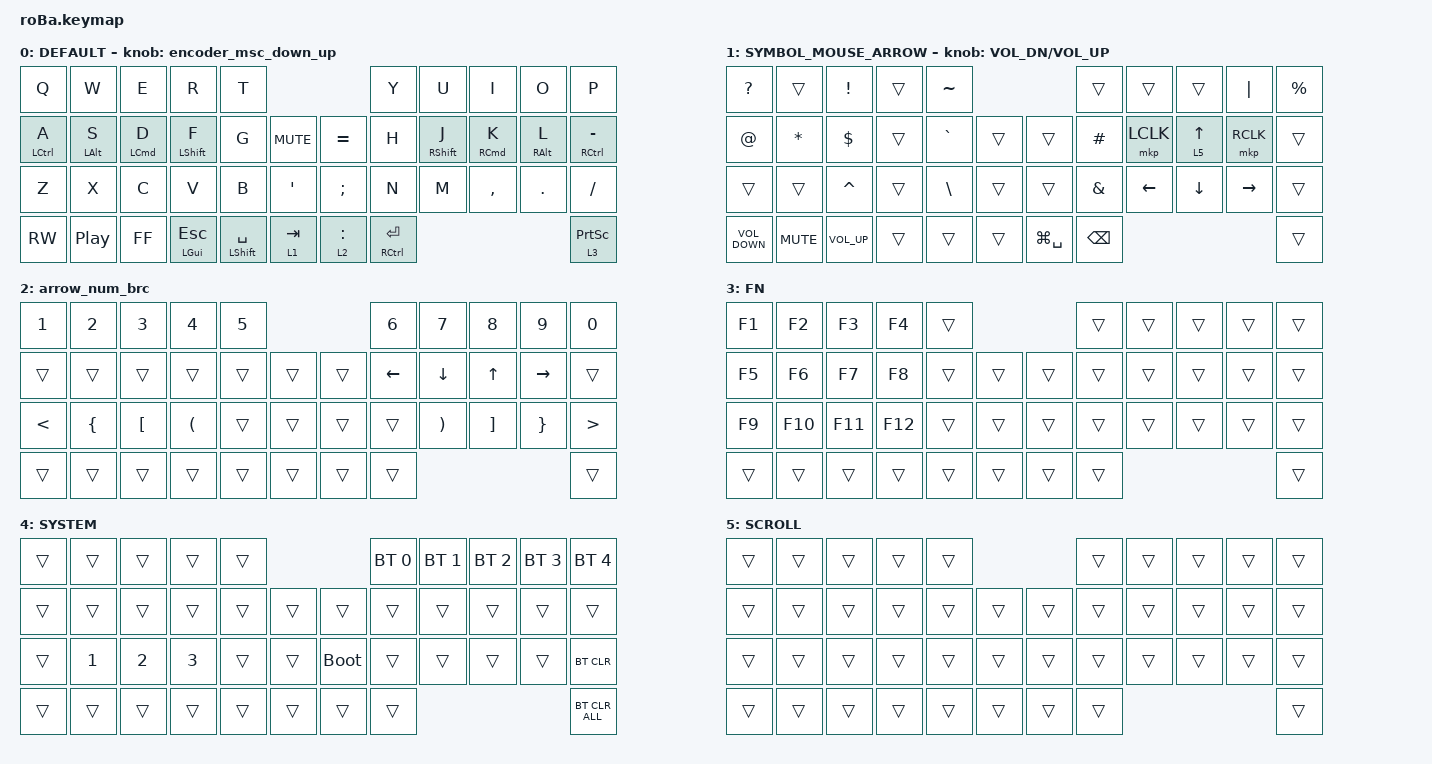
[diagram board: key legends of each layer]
#include <behaviors.dtsi>
#include <dt-bindings/zmk/bt.h>
#include <dt-bindings/zmk/keys.h>
#include <dt-bindings/zmk/pointing.h>

#define ZMK_POINTING_DEFAULT_SCRL_VAL 80

&mt {
    flavor = "balanced";
    quick-tap-ms = <0>;
};

&trackball {
    // automouse-layer = <4>;

    scroll-layers = <5>;

    // arrows {
    //     layers = <3>;
    //     bindings =
    //         <&kp RIGHT_ARROW>,
    //         <&kp LEFT_ARROW>,
    //         <&kp UP_ARROW>,
    //         <&kp DOWN_ARROW>;
    //     tick = <10>;
    //     wait-ms = <5>;
    //     tap-ms = <5>;
    // };
};

/ {
    combos {
        compatible = "zmk,combos";

        layer_to_system {
            bindings = <&mo 4>;
            key-positions = <40 41>;
            layers = <0>;
        };
    };

    macros {
        to_layer_0: to_layer_0 {
            compatible = "zmk,behavior-macro-one-param";
            #binding-cells = <1>;
            bindings = <&to 0 &macro_param_1to1 &kp MACRO_PLACEHOLDER>;
            label = "TO_LAYER_0";
        };
    };

    behaviors {
        lt_to_layer_0: lt_to_layer_0 {
            compatible = "zmk,behavior-hold-tap";
            label = "LAYER_TAP_TO_0";
            bindings = <&mo>, <&to_layer_0>;

            #binding-cells = <2>;
            tapping-term-ms = <200>;
        };

        encoder_msc_down_up: encoder_msc_down_up {
            compatible = "zmk,behavior-sensor-rotate";
            label = "ENCODER_MSC_DOWN_UP";
            #sensor-binding-cells = <0>;
            bindings = <&msc SCRL_DOWN>, <&msc SCRL_UP>;

            tap-ms = <20>;
        };
    };

    keymap {
        compatible = "zmk,keymap";

        DEFAULT {
            bindings = <
&kp Q        &kp W             &kp E       &kp R                &kp T                                                &kp Y            &kp U              &kp I       &kp O            &kp P
&mt LCTRL A  &mt LEFT_ALT S    &mt LCMD D  &mt LEFT_SHIFT F     &kp G                 &kp K_MUTE      &kp EQUAL      &kp H            &mt RIGHT_SHIFT J  &mt RCMD K  &mt RIGHT_ALT L  &mt RCTRL MINUS
&kp Z        &kp X             &kp C       &kp V                &kp B                 &kp SQT         &kp SEMICOLON  &kp N            &kp M              &kp COMMA   &kp DOT          &kp SLASH
&kp C_RW     &kp C_PLAY_PAUSE  &kp C_FF    &mt LEFT_GUI ESCAPE  &mt LEFT_SHIFT SPACE  &lt 1 TAB       &lt 2 COLON    &mt RCTRL ENTER                                                  &lt 3 PRINTSCREEN
            >;

            sensor-bindings = <&encoder_msc_down_up>;
        };

        SYMBOL_MOUSE_ARROW {
            bindings = <
&kp QMARK          &trans      &kp EXCL         &trans  &kp TILDE                                 &trans         &trans     &trans    &kp PIPE   &kp PRCNT
&kp AT             &kp STAR    &kp DLLR         &trans  &kp GRAVE      &trans      &trans         &kp HASH       &mkp LCLK  &lt 5 UP  &mkp RCLK  &trans
&trans             &trans      &kp CARET        &trans  &kp BACKSLASH  &trans      &trans         &kp AMPS       &kp LEFT   &kp DOWN  &kp RIGHT  &trans
&kp C_VOLUME_DOWN  &kp K_MUTE  &kp C_VOLUME_UP  &trans  &trans         &trans      &kp LG(SPACE)  &kp BACKSPACE                                  &trans
            >;

            sensor-bindings = <&inc_dec_kp C_VOL_DN C_VOL_UP>;
        };

        arrow_num_brc {
            bindings = <
&kp N1  &kp N2    &kp N3    &kp N4    &kp N5                      &kp N6    &kp N7    &kp N8    &kp N9     &kp N0
&trans  &trans    &trans    &trans    &trans  &trans      &trans  &kp LEFT  &kp DOWN  &kp UP    &kp RIGHT  &trans
&kp LT  &kp LBRC  &kp LBKT  &kp LPAR  &trans  &trans      &trans  &trans    &kp RPAR  &kp RBKT  &kp RBRC   &kp GT
&trans  &trans    &trans    &trans    &trans  &trans      &trans  &trans                                   &trans
            >;
        };

        FN {
            bindings = <
&kp F1  &kp F2   &kp F3   &kp F4   &trans                      &trans  &trans  &trans  &trans  &trans
&kp F5  &kp F6   &kp F7   &kp F8   &trans  &trans      &trans  &trans  &trans  &trans  &trans  &trans
&kp F9  &kp F10  &kp F11  &kp F12  &trans  &trans      &trans  &trans  &trans  &trans  &trans  &trans
&trans  &trans   &trans   &trans   &trans  &trans      &trans  &trans                          &trans
            >;
        };

        SYSTEM {
            bindings = <
&trans  &trans        &trans        &trans        &trans                           &bt BT_SEL 0  &bt BT_SEL 1  &bt BT_SEL 2  &bt BT_SEL 3  &bt BT_SEL 4
&trans  &trans        &trans        &trans        &trans  &trans      &trans       &trans        &trans        &trans        &trans        &trans
&trans  &kp NUMBER_1  &kp NUMBER_2  &kp NUMBER_3  &trans  &trans      &bootloader  &trans        &trans        &trans        &trans        &bt BT_CLR
&trans  &trans        &trans        &trans        &trans  &trans      &trans       &trans                                                  &bt BT_CLR_ALL
            >;
        };

        SCROLL {
            bindings = <
&trans  &trans  &trans  &trans  &trans                      &trans  &trans  &trans  &trans  &trans
&trans  &trans  &trans  &trans  &trans  &trans      &trans  &trans  &trans  &trans  &trans  &trans
&trans  &trans  &trans  &trans  &trans  &trans      &trans  &trans  &trans  &trans  &trans  &trans
&trans  &trans  &trans  &trans  &trans  &trans      &trans  &trans                          &trans
            >;
        };
    };
};
